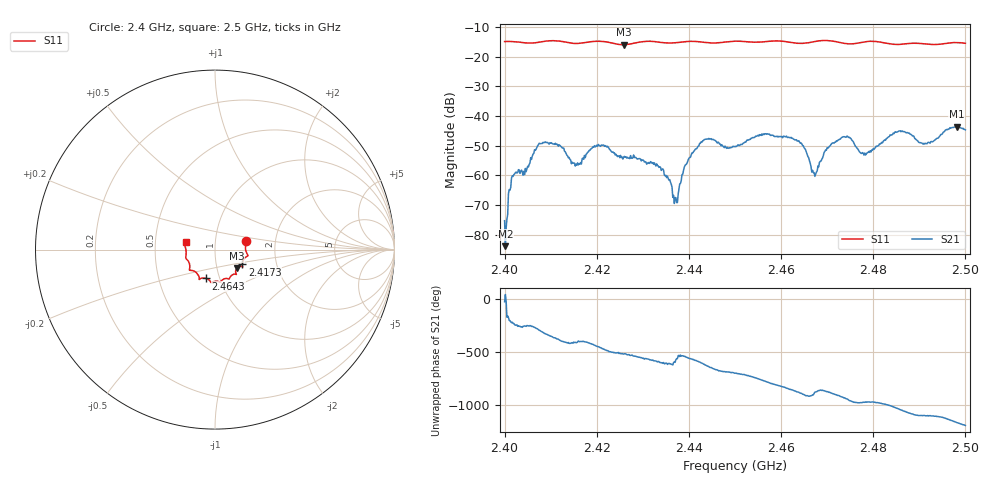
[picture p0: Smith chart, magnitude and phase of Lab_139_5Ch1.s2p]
# Hz S RI R 50
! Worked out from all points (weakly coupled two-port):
!   601 points, 2.4 GHz to 2.5 GHz, reference 50 ohm
!   highest |S21| = -43.52 dB at 2.4982 GHz (marker M1); lowest = -83.8 dB at 2.4002 GHz (marker M2)
!   lowest |S11| = -15.9 dB at 2.4258 GHz (marker M3), VSWR 1.38, Z = 62.2 - j13.3 ohm
!   |S11| at or under -10 dB: start of sweep to end of sweep
!   S12 and S22 are empty: the file has one direction only
!   S11 on the Smith chart (normalised r, x): 2.4 GHz: 1.41, +0.14; 2.4173 GHz: 1.34, -0.23; 2.4643 GHz: 0.86, -0.28; 2.5 GHz: 0.72, +0.06
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2.4e9  0.1737 0.0493  0.000159 -6.67e-05  0 0  0 0
2.400167e9  0.1743 0.049  4.5e-05 4.59e-05  0 0  0 0
2.402e9  0.1752 0.0411  -0.000688 0.000766  0 0  0 0
2.4075e9  0.1756 -0.0163  0.00136 0.0032  0 0  0 0
2.416667e9  0.1527 -0.0749  0.00123 -0.000967  0 0  0 0
2.417333e9  0.152 -0.0824  0.00161 -0.00145  0 0  0 0
2.420833e9  0.1546 -0.0967  -0.000395 -0.00307  0 0  0 0
2.425833e9  0.1213 -0.1039  -0.0019 -0.000773  0 0  0 0
2.433333e9  0.1125 -0.1367  -0.000995 0.00106  0 0  0 0
2.437e9  0.0872 -0.1486  -0.000235 0.000354  0 0  0 0
2.4395e9  0.0802 -0.1618  -0.00155 0.000218  0 0  0 0
2.442833e9  0.0706 -0.1621  -0.00153 0.00332  0 0  0 0
2.45e9  0.0294 -0.1809  0.00288 0.00112  0 0  0 0
2.456667e9  -0.0118 -0.1798  0.00277 -0.00422  0 0  0 0
2.464333e9  -0.0501 -0.1605  -0.00348 -0.000635  0 0  0 0
2.466667e9  -0.0763 -0.1596  -0.00112 0.000197  0 0  0 0
2.473333e9  -0.0929 -0.143  -0.00402 0.00186  0 0  0 0
2.478e9  -0.1352 -0.116  -0.000567 0.00213  0 0  0 0
2.483333e9  -0.1404 -0.0895  0.00101 0.00436  0 0  0 0
2.491167e9  -0.1616 -0.0334  0.00319 -0.00114  0 0  0 0
2.498167e9  -0.1708 0.0326  0.000236 -0.00667  0 0  0 0
2.5e9  -0.1635 0.0419  -0.00238 -0.00535  0 0  0 0
